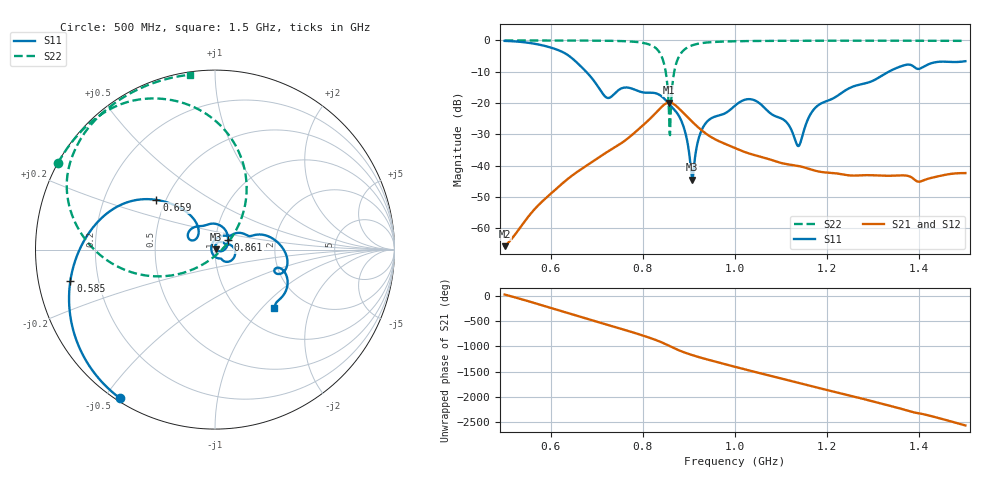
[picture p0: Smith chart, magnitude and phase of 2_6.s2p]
! TOUCHSTONE file generated by CST MICROWAVE STUDIO
! Date and time: Fri Oct  2 18:54:43 2020
! Project name: Scenario_1_Free_Space_out_of_line.cst
! Parameters = {Lambda=346.42; Step_1=17.321; dy1=330.299; dx1=1039; L_HA=400; MT=2.54; Rad_Dielectric=30; Rad_Lower=7.3; Rad_Upper=30; a_HA=580; a_WG=246; b_HA=500; b_WG=121; c_HA=0; c_WG=187; d_feed=85; h_feed=15; h_lower=18; h_upper=40}
! Header version: 2018
! Port assignment regex: !\s*Touchstone port\s*([0-9]+)\s*=\s*(CST MWS port|CST DS port)\s*([0-9]+|Zmin|Zmax)\s*\(\"(.*)\"\)(\s*mode\s*([0-9]+))?.*
! Touchstone port assignment:
! Touchstone port 1 = CST MWS port 1 ("")
! Touchstone port 2 = CST MWS port 2 ("")
# GHz S DB R 50
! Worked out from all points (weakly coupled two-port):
!   1003 points, 500 MHz to 1.5 GHz, reference 50 ohm
!   highest |S21| = -19.86 dB at 857 MHz (marker M1); lowest = -65.8 dB at 500 MHz (marker M2)
!   lowest |S11| = -44.5 dB at 907 MHz (marker M3), VSWR 1.01, Z = 50.5 + j0.273 ohm
!   |S11| at or under -10 dB: 677 MHz to 1.334 GHz (656.6 MHz wide, 65.3 % of centre)
!   |S22| runs from -30.3 to 0.0 dB; largest |S21 - S12| = 7.5e-06
!   S11 on the Smith chart (normalised r, x): 500 MHz: 0.01, -0.55; 585 MHz: 0.10, -0.11; 659 MHz: 0.44, +0.30; 861 MHz: 1.15, +0.12; 1.5 GHz: 1.41, -1.18
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0.5  -0.15 -122.5  -65.79 24.2  -65.79 24.2  -0.01 151.2
0.585  -1.67 -167.7  -51.03 162.1  -51.03 162.1  -0.02 145.3
0.659  -7.37 139.7  -41.89 -39.6  -41.89 -39.6  -0.04 139.1
0.667  -8.50 135.5  -41.09 -61.5  -41.09 -61.5  -0.04 138.4
0.722  -18.32 141.9  -35.73 149.2  -35.73 149.2  -0.11 132.0
0.791  -16.23 122.0  -28.35 -37.9  -28.35 -37.9  -0.57 116.6
0.834  -17.23 77.7  -22.27 -173.3  -22.27 -173.3  -3.36 86.3
0.847  -18.70 56.0  -20.46 135.8  -20.46 135.8  -8.08 63.5
0.857  -20.33 41.0  -19.86 91.8  -19.86 91.8  -24.02 21.0
0.861  -20.99 35.6  -19.93 74.0  -19.93 74.0  -20.92 -125.4
0.867  -21.94 27.0  -20.34 48.0  -20.34 48.0  -10.95 -149.4
0.875  -23.38 13.8  -21.29 15.7  -21.29 15.7  -6.25 -165.2
0.892  -29.38 -16.1  -23.78 -44.1  -23.78 -44.1  -2.72 174.9
0.907  -44.49 26.9  -25.98 -90.1  -25.98 -90.1  -1.57 164.8
0.934  -26.96 65.3  -29.48 -162.6  -29.48 -162.6  -0.73 153.6
1  -20.86 16.3  -34.43 38.0  -34.43 38.0  -0.26 140.4
1.048  -19.56 -38.2  -36.87 -73.6  -36.87 -73.6  -0.17 134.7
1.111  -26.03 -72.8  -39.52 141.4  -39.52 141.4  -0.11 128.8
1.137  -33.78 -168.2  -40.12 81.3  -40.12 81.3  -0.11 126.7
1.167  -22.85 74.9  -41.36 11.5  -41.36 11.5  -0.09 124.3
1.334  -9.97 12.4  -43.28 -5.8  -43.28 -5.8  -0.09 111.5
1.5  -6.65 -44.7  -42.41 -39.2  -42.41 -39.3  -0.14 98.0
